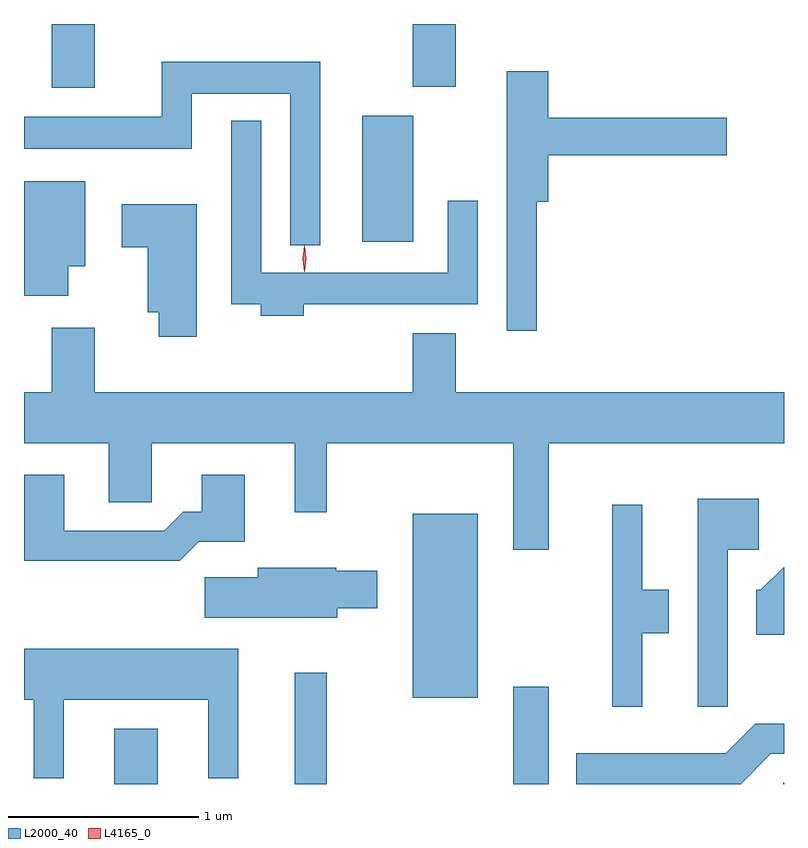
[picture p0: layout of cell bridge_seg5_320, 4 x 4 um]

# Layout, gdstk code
import gdstk
lib = gdstk.Library(unit=1e-6, precision=1e-09)
def R(c, l, rs):  # rectangles x0, y0, x1, y1
    for r in rs: c.add(gdstk.rectangle(r[:2], r[2:], *l))
def P(c, l, *ps):  # polygons
    for p in ps: c.add(gdstk.Polygon(p, *l))
L2000_40 = (2000, 40)
L4165_0 = (4165, 0)

bridge_seg5_320 = lib.new_cell('bridge_seg5_320')
R(bridge_seg5_320, L2000_40, [(761.551,1452.782,761.779,1453.074), (762.501,1452.782,762.669,1453.368), (763.651,1452.782,763.839,1453.294), (765.071,1452.782,765.076,1452.789), (763.121,1453.236,763.464,1454.204), (762.856,1455.636,763.124,1456.299), (761.221,1456.446,761.449,1456.782), (763.121,1456.451,763.349,1456.782)])
P(bridge_seg5_320, L2000_40, [(762.634,1456.584),(761.801,1456.584),(761.801,1456.294),(761.076,1456.294),(761.076,1456.126),(761.959,1456.126),(761.959,1456.416),(762.476,1456.416),(762.476,1455.618),(762.634,1455.618)],
  [(763.774,1455.846),(763.834,1455.846),(763.834,1456.091),(764.774,1456.091),(764.774,1456.289),(763.834,1456.289),(763.834,1456.534),(763.616,1456.534),(763.616,1455.168),(763.774,1455.168)],
  [(762.549,1455.306),(763.464,1455.306),(763.464,1455.853),(763.306,1455.853),(763.306,1455.474),(762.324,1455.474),(762.324,1456.273),(762.166,1456.273),(762.166,1455.306),(762.321,1455.306),(762.321,1455.246),(762.549,1455.246)],
  [(761.309,1455.506),(761.399,1455.506),(761.399,1455.954),(761.076,1455.954),(761.076,1455.351),(761.309,1455.351)],
  [(761.984,1455.834),(761.591,1455.834),(761.591,1455.606),(761.726,1455.606),(761.726,1455.266),(761.786,1455.266),(761.786,1455.136),(761.984,1455.136)],
  [(763.839,1454.576),(765.076,1454.576),(765.076,1454.844),(763.349,1454.844),(763.349,1455.154),(763.121,1455.154),(763.121,1454.844),(761.449,1454.844),(761.449,1455.184),(761.221,1455.184),(761.221,1454.844),(761.076,1454.844),(761.076,1454.576),(761.521,1454.576),(761.521,1454.266),(761.749,1454.266),(761.749,1454.576),(762.501,1454.576),(762.501,1454.213),(762.669,1454.213),(762.669,1454.576),(763.651,1454.576),(763.651,1454.016),(763.839,1454.016)],
  [(761.997,1454.056),(762.239,1454.056),(762.239,1454.409),(762.011,1454.409),(762.011,1454.214),(761.914,1454.214),(761.814,1454.114),(761.289,1454.114),(761.289,1454.409),(761.076,1454.409),(761.076,1453.956),(761.897,1453.956)],
  [(764.779,1454.016),(764.944,1454.016),(764.944,1454.284),(764.621,1454.284),(764.621,1453.188),(764.779,1453.188)],
  [(764.329,1453.576),(764.469,1453.576),(764.469,1453.804),(764.329,1453.804),(764.329,1454.253),(764.171,1454.253),(764.171,1453.188),(764.329,1453.188)],
  [(765.076,1453.924),(765.074,1453.924),(764.954,1453.804),(764.931,1453.804),(764.931,1453.568),(765.076,1453.568)],
  [(762.724,1453.706),(762.934,1453.706),(762.934,1453.904),(762.72,1453.904),(762.72,1453.919),(762.306,1453.919),(762.306,1453.869),(762.026,1453.869),(762.026,1453.656),(762.724,1453.656)],
  [(761.284,1453.226),(762.046,1453.226),(762.046,1452.813),(762.204,1452.813),(762.204,1453.494),(761.076,1453.494),(761.076,1453.226),(761.126,1453.226),(761.126,1452.813),(761.284,1452.813)],
  [(765.007,1452.941),(765.076,1452.941),(765.076,1453.099),(764.924,1453.099),(764.769,1452.944),(763.983,1452.944),(763.983,1452.782),(764.848,1452.782)])
P(bridge_seg5_320, L4165_0, [(762.552,1455.48),(762.552,1455.48),(762.542,1455.546),(762.552,1455.613),(762.552,1455.613),(762.553,1455.613),(762.562,1455.546),(762.553,1455.48)],
  [(762.552,1455.477),(762.552,1455.477),(762.542,1455.547),(762.552,1455.616),(762.552,1455.616),(762.553,1455.616),(762.562,1455.547),(762.553,1455.477)])

lib.write_gds('bridge_seg5_320.gds')
